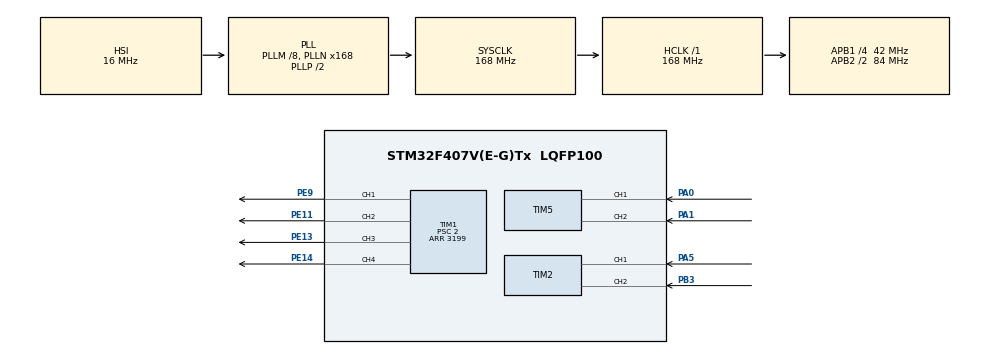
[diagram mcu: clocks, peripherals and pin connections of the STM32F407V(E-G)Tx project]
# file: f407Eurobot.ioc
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Mcu.Family=STM32F4
Mcu.Name=STM32F407V(E-G)Tx
Mcu.Package=LQFP100
NVIC.PriorityGroup=NVIC_PRIORITYGROUP_0
NVIC.TIM2_IRQn=true\:0\:0\:false\:false\:true\:true\:true\:true
NVIC.TIM6_DAC_IRQn=true\:0\:0\:false\:false\:true\:true\:true\:true
PA0-WKUP.Signal=S_TIM5_CH1
PA1.Signal=S_TIM5_CH2
PA5.Signal=S_TIM2_CH1_ETR
PB3.Signal=S_TIM2_CH2
PE11.Signal=S_TIM1_CH2
PE13.Signal=S_TIM1_CH3
PE14.Signal=S_TIM1_CH4
PE9.Signal=S_TIM1_CH1
PH0-OSC_IN.Mode=HSE-External-Oscillator
PH0-OSC_IN.Signal=RCC_OSC_IN
PH1-OSC_OUT.Mode=HSE-External-Oscillator
PH1-OSC_OUT.Signal=RCC_OSC_OUT
ProjectManager.HeapSize=0x200
ProjectManager.StackSize=0x400
ProjectManager.TargetToolchain=STM32CubeIDE
RCC.48MHZClocksFreq_Value=48000000
RCC.AHBFreq_Value=168000000
RCC.APB1CLKDivider=RCC_HCLK_DIV4
RCC.APB1Freq_Value=42000000
RCC.APB1TimFreq_Value=84000000
RCC.APB2CLKDivider=RCC_HCLK_DIV2
RCC.APB2Freq_Value=84000000
RCC.APB2TimFreq_Value=168000000
RCC.CortexFreq_Value=168000000
RCC.HCLKFreq_Value=168000000
RCC.HSE_VALUE=8000000
RCC.HSI_VALUE=16000000
RCC.LSE_VALUE=32768
RCC.PLLM=8
RCC.PLLN=168
RCC.PLLQ=7
RCC.SYSCLKFreq_VALUE=168000000
RCC.SYSCLKSource=RCC_SYSCLKSOURCE_PLLCLK
RCC.VCOOutputFreq_Value=336000000
SH.S_TIM1_CH1.0=TIM1_CH1,PWM Generation1 CH1
SH.S_TIM1_CH2.0=TIM1_CH2,PWM Generation2 CH2
SH.S_TIM1_CH3.0=TIM1_CH3,PWM Generation3 CH3
SH.S_TIM1_CH4.0=TIM1_CH4,PWM Generation4 CH4
SH.S_TIM2_CH1_ETR.0=TIM2_CH1,Encoder_Interface
SH.S_TIM2_CH2.0=TIM2_CH2,Encoder_Interface
SH.S_TIM5_CH1.0=TIM5_CH1,Encoder_Interface
SH.S_TIM5_CH2.0=TIM5_CH2,Encoder_Interface
TIM1.Channel-PWM\ Generation1\ CH1=TIM_CHANNEL_1
TIM1.Channel-PWM\ Generation2\ CH2=TIM_CHANNEL_2
TIM1.Channel-PWM\ Generation3\ CH3=TIM_CHANNEL_3
TIM1.Channel-PWM\ Generation4\ CH4=TIM_CHANNEL_4
TIM1.Period=3199
TIM1.Prescaler=2
TIM6.Period=419
TIM6.Prescaler=999
VP_TIM1_VS_ClockSourceINT.Mode=Internal
VP_TIM6_VS_ClockSourceINT.Mode=Enable_Timer
board=STM32F407G-DISC1

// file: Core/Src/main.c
/* USER CODE BEGIN Header */
/**
  ******************************************************************************
  * @file           : main.c
  * @brief          : Main program body
  ******************************************************************************
  * @attention
  *
  * Copyright (c) 2023 STMicroelectronics.
  * All rights reserved.
  *
  * This software is licensed under terms that can be found in the LICENSE file
  * in the root directory of this software component.
  * If no LICENSE file comes with this software, it is provided AS-IS.
  *
  ******************************************************************************
  */
/* USER CODE END Header */
#include "main.h"

/* USER CODE BEGIN Includes */
#include "math.h"
#include "Navigation.h"
#include "NavConfig.h"
#include "NavTypes.h"
#include "NavConstants.h"

/* USER CODE END Includes */

TIM_HandleTypeDef htim1;
TIM_HandleTypeDef htim2;
TIM_HandleTypeDef htim5;
TIM_HandleTypeDef htim6;

/* USER CODE BEGIN PV */

uint8_t SuddenStopConfirmation_DelayCounter = 0 ;
uint8_t Second_Delay_counter = 0 ;
extern int32_t Nav_OverflowLeftEncoder_i32 ;
extern int32_t Nav_PrevLeftEncoderCNT_i32 ;
uint8_t Nav_FirstTimeRecievingTargets = 1 ;
int Sensor=0;
double x, y, result;
extern double Nav_CurrentX_mm_d;
extern double Nav_CurrentY_mm_d;
extern double Nav_CurrentAngle_deg_d;
extern double Nav_CurrentAngle_rad_d;
extern double Nav_CurrentTargetAngle_deg_d ;
extern double Nav_PrevTargetAngle_deg_d ;
extern uint8_t Nav_NumberOfTargets_u8;
extern uint32_t Nav_RightTicks_i32;
extern double Nav_MeasuredDistanceRight_mm_d;
extern uint8_t Nav_NavigatorMustAlert ;
/* USER CODE END PV */

void SystemClock_Config(void);
static void MX_GPIO_Init(void);
static void MX_TIM2_Init(void);
static void MX_TIM6_Init(void);
static void MX_TIM1_Init(void);
static void MX_TIM5_Init(void);

/* USER CODE BEGIN 0 */

void HAL_TIM_PeriodElapsedCallback(TIM_HandleTypeDef *htim)

{
    if ( htim == &htim6 )
	{
        Nav_vTestPathStateMachine();
//		Nav_vExecutePath();

	}
}

/* USER CODE END 0 */

int main(void)
{

  /* MCU Configuration--------------------------------------------------------*/

  /* Reset of all peripherals, Initializes the Flash interface and the Systick. */

	HAL_Init();

  /* USER CODE BEGIN Init */
  Nav_vNavigatorInit();
  /* USER CODE END Init */

  /* Configure the system clock */
  SystemClock_Config();

  /* Initialize all configured peripherals */
  MX_GPIO_Init();
  MX_TIM2_Init();
  MX_TIM6_Init();
  MX_TIM1_Init();
  MX_TIM5_Init();
  /* USER CODE BEGIN 2 */
  HAL_TIM_Encoder_Start(&htim2,TIM_CHANNEL_1);
    HAL_TIM_Encoder_Start(&htim2,TIM_CHANNEL_2);

    HAL_TIM_Encoder_Start(&htim5,TIM_CHANNEL_1);
    HAL_TIM_Encoder_Start(&htim5,TIM_CHANNEL_2);

      HAL_TIM_PWM_Start(&htim1,TIM_CHANNEL_1);
    	HAL_TIM_PWM_Start(&htim1,TIM_CHANNEL_2);
    	HAL_TIM_PWM_Start(&htim1,TIM_CHANNEL_3);
    	HAL_TIM_PWM_Start(&htim1,TIM_CHANNEL_4);
    	TIM2->CNT=TIM2->ARR / 2 ;
    	TIM5->CNT=TIM5->ARR / 2 ;
   		HAL_Delay(2000);
   		    HAL_TIM_Base_Start_IT(&htim6);

//MOTOR_PWM->RIGHT_FORWARD = 0;
//MOTOR_PWM->RIGHT_REVERSE =MINIMUM_RIGHT_MOTOR_REVERSE_COMMAND;
//MOTOR_PWM->LEFT_FORWARD=0;
//MOTOR_PWM->LEFT_REVERSE =MINIMUM_LEFT_MOTOR_REVERSE_COMMAND ;

// MINIMUM_RIGHT_MOTOR_FORWARD_COMMAND
//
// MINIMUM_RIGHT_MOTOR_REVERSE_COMMAND
//
// MINIMUM_LEFT_MOTOR_FORWARD_COMMAND
//
// MINIMUM_LEFT_MOTOR_REVERSE_COMMAND
  /* USER CODE END 2 */

  /* Infinite loop */
   		    while (1)
  {

  }
}

void SystemClock_Config(void)
{
  RCC_OscInitTypeDef RCC_OscInitStruct = {0};
  RCC_ClkInitTypeDef RCC_ClkInitStruct = {0};

  /** Configure the main internal regulator output voltage
  */
  __HAL_RCC_PWR_CLK_ENABLE();
  __HAL_PWR_VOLTAGESCALING_CONFIG(PWR_REGULATOR_VOLTAGE_SCALE1);

  /** Initializes the RCC Oscillators according to the specified parameters
  * in the RCC_OscInitTypeDef structure.
  */
  RCC_OscInitStruct.OscillatorType = RCC_OSCILLATORTYPE_HSI;
  RCC_OscInitStruct.HSIState = RCC_HSI_ON;
  RCC_OscInitStruct.HSICalibrationValue = RCC_HSICALIBRATION_DEFAULT;
  RCC_OscInitStruct.PLL.PLLState = RCC_PLL_ON;
  RCC_OscInitStruct.PLL.PLLSource = RCC_PLLSOURCE_HSI;
  RCC_OscInitStruct.PLL.PLLM = 8;
  RCC_OscInitStruct.PLL.PLLN = 168;
  RCC_OscInitStruct.PLL.PLLP = RCC_PLLP_DIV2;
  RCC_OscInitStruct.PLL.PLLQ = 7;
  if (HAL_RCC_OscConfig(&RCC_OscInitStruct) != HAL_OK)
  {
    Error_Handler();
  }

  /** Initializes the CPU, AHB and APB buses clocks
  */
  RCC_ClkInitStruct.ClockType = RCC_CLOCKTYPE_HCLK|RCC_CLOCKTYPE_SYSCLK
                              |RCC_CLOCKTYPE_PCLK1|RCC_CLOCKTYPE_PCLK2;
  RCC_ClkInitStruct.SYSCLKSource = RCC_SYSCLKSOURCE_PLLCLK;
  RCC_ClkInitStruct.AHBCLKDivider = RCC_SYSCLK_DIV1;
  RCC_ClkInitStruct.APB1CLKDivider = RCC_HCLK_DIV4;
  RCC_ClkInitStruct.APB2CLKDivider = RCC_HCLK_DIV2;

  if (HAL_RCC_ClockConfig(&RCC_ClkInitStruct, FLASH_LATENCY_5) != HAL_OK)
  {
    Error_Handler();
  }
}

static void MX_TIM1_Init(void)
{

  TIM_ClockConfigTypeDef sClockSourceConfig = {0};
  TIM_MasterConfigTypeDef sMasterConfig = {0};
  TIM_OC_InitTypeDef sConfigOC = {0};
  TIM_BreakDeadTimeConfigTypeDef sBreakDeadTimeConfig = {0};

  htim1.Instance = TIM1;
  htim1.Init.Prescaler = 2;
  htim1.Init.CounterMode = TIM_COUNTERMODE_UP;
  htim1.Init.Period = 3199;
  htim1.Init.ClockDivision = TIM_CLOCKDIVISION_DIV1;
  htim1.Init.RepetitionCounter = 0;
  htim1.Init.AutoReloadPreload = TIM_AUTORELOAD_PRELOAD_DISABLE;
  if (HAL_TIM_Base_Init(&htim1) != HAL_OK)
  {
    Error_Handler();
  }
  sClockSourceConfig.ClockSource = TIM_CLOCKSOURCE_INTERNAL;
  if (HAL_TIM_ConfigClockSource(&htim1, &sClockSourceConfig) != HAL_OK)
  {
    Error_Handler();
  }
  if (HAL_TIM_PWM_Init(&htim1) != HAL_OK)
  {
    Error_Handler();
  }
  sMasterConfig.MasterOutputTrigger = TIM_TRGO_RESET;
  sMasterConfig.MasterSlaveMode = TIM_MASTERSLAVEMODE_DISABLE;
  if (HAL_TIMEx_MasterConfigSynchronization(&htim1, &sMasterConfig) != HAL_OK)
  {
    Error_Handler();
  }
  sConfigOC.OCMode = TIM_OCMODE_PWM1;
  sConfigOC.Pulse = 0;
  sConfigOC.OCPolarity = TIM_OCPOLARITY_HIGH;
  sConfigOC.OCNPolarity = TIM_OCNPOLARITY_HIGH;
  sConfigOC.OCFastMode = TIM_OCFAST_DISABLE;
  sConfigOC.OCIdleState = TIM_OCIDLESTATE_RESET;
  sConfigOC.OCNIdleState = TIM_OCNIDLESTATE_RESET;
  if (HAL_TIM_PWM_ConfigChannel(&htim1, &sConfigOC, TIM_CHANNEL_1) != HAL_OK)
  {
    Error_Handler();
  }
  if (HAL_TIM_PWM_ConfigChannel(&htim1, &sConfigOC, TIM_CHANNEL_2) != HAL_OK)
  {
    Error_Handler();
  }
  if (HAL_TIM_PWM_ConfigChannel(&htim1, &sConfigOC, TIM_CHANNEL_3) != HAL_OK)
  {
    Error_Handler();
  }
  if (HAL_TIM_PWM_ConfigChannel(&htim1, &sConfigOC, TIM_CHANNEL_4) != HAL_OK)
  {
    Error_Handler();
  }
  sBreakDeadTimeConfig.OffStateRunMode = TIM_OSSR_DISABLE;
  sBreakDeadTimeConfig.OffStateIDLEMode = TIM_OSSI_DISABLE;
  sBreakDeadTimeConfig.LockLevel = TIM_LOCKLEVEL_OFF;
  sBreakDeadTimeConfig.DeadTime = 0;
  sBreakDeadTimeConfig.BreakState = TIM_BREAK_DISABLE;
  sBreakDeadTimeConfig.BreakPolarity = TIM_BREAKPOLARITY_HIGH;
  sBreakDeadTimeConfig.AutomaticOutput = TIM_AUTOMATICOUTPUT_DISABLE;
  if (HAL_TIMEx_ConfigBreakDeadTime(&htim1, &sBreakDeadTimeConfig) != HAL_OK)
  {
    Error_Handler();
  }
  HAL_TIM_MspPostInit(&htim1);

}

static void MX_TIM2_Init(void)
{

  TIM_Encoder_InitTypeDef sConfig = {0};
  TIM_MasterConfigTypeDef sMasterConfig = {0};

  htim2.Instance = TIM2;
  htim2.Init.Prescaler = 0;
  htim2.Init.CounterMode = TIM_COUNTERMODE_UP;
  htim2.Init.Period = 4294967295;
  htim2.Init.ClockDivision = TIM_CLOCKDIVISION_DIV1;
  htim2.Init.AutoReloadPreload = TIM_AUTORELOAD_PRELOAD_DISABLE;
  sConfig.EncoderMode = TIM_ENCODERMODE_TI1;
  sConfig.IC1Polarity = TIM_ICPOLARITY_RISING;
  sConfig.IC1Selection = TIM_ICSELECTION_DIRECTTI;
  sConfig.IC1Prescaler = TIM_ICPSC_DIV1;
  sConfig.IC1Filter = 0;
  sConfig.IC2Polarity = TIM_ICPOLARITY_RISING;
  sConfig.IC2Selection = TIM_ICSELECTION_DIRECTTI;
  sConfig.IC2Prescaler = TIM_ICPSC_DIV1;
  sConfig.IC2Filter = 0;
  if (HAL_TIM_Encoder_Init(&htim2, &sConfig) != HAL_OK)
  {
    Error_Handler();
  }
  sMasterConfig.MasterOutputTrigger = TIM_TRGO_RESET;
  sMasterConfig.MasterSlaveMode = TIM_MASTERSLAVEMODE_DISABLE;
  if (HAL_TIMEx_MasterConfigSynchronization(&htim2, &sMasterConfig) != HAL_OK)
  {
    Error_Handler();
  }

}

static void MX_TIM5_Init(void)
{

  TIM_Encoder_InitTypeDef sConfig = {0};
  TIM_MasterConfigTypeDef sMasterConfig = {0};

  htim5.Instance = TIM5;
  htim5.Init.Prescaler = 0;
  htim5.Init.CounterMode = TIM_COUNTERMODE_UP;
  htim5.Init.Period = 4294967295;
  htim5.Init.ClockDivision = TIM_CLOCKDIVISION_DIV1;
  htim5.Init.AutoReloadPreload = TIM_AUTORELOAD_PRELOAD_DISABLE;
  sConfig.EncoderMode = TIM_ENCODERMODE_TI1;
  sConfig.IC1Polarity = TIM_ICPOLARITY_RISING;
  sConfig.IC1Selection = TIM_ICSELECTION_DIRECTTI;
  sConfig.IC1Prescaler = TIM_ICPSC_DIV1;
  sConfig.IC1Filter = 0;
  sConfig.IC2Polarity = TIM_ICPOLARITY_RISING;
  sConfig.IC2Selection = TIM_ICSELECTION_DIRECTTI;
  sConfig.IC2Prescaler = TIM_ICPSC_DIV1;
  sConfig.IC2Filter = 0;
  if (HAL_TIM_Encoder_Init(&htim5, &sConfig) != HAL_OK)
  {
    Error_Handler();
  }
  sMasterConfig.MasterOutputTrigger = TIM_TRGO_RESET;
  sMasterConfig.MasterSlaveMode = TIM_MASTERSLAVEMODE_DISABLE;
  if (HAL_TIMEx_MasterConfigSynchronization(&htim5, &sMasterConfig) != HAL_OK)
  {
    Error_Handler();
  }

}

static void MX_TIM6_Init(void)
{

  TIM_MasterConfigTypeDef sMasterConfig = {0};

  htim6.Instance = TIM6;
  htim6.Init.Prescaler = 999;
  htim6.Init.CounterMode = TIM_COUNTERMODE_UP;
  htim6.Init.Period = 419;
  htim6.Init.AutoReloadPreload = TIM_AUTORELOAD_PRELOAD_DISABLE;
  if (HAL_TIM_Base_Init(&htim6) != HAL_OK)
  {
    Error_Handler();
  }
  sMasterConfig.MasterOutputTrigger = TIM_TRGO_RESET;
  sMasterConfig.MasterSlaveMode = TIM_MASTERSLAVEMODE_DISABLE;
  if (HAL_TIMEx_MasterConfigSynchronization(&htim6, &sMasterConfig) != HAL_OK)
  {
    Error_Handler();
  }

}

static void MX_GPIO_Init(void)
{

  /* GPIO Ports Clock Enable */
  __HAL_RCC_GPIOH_CLK_ENABLE();
  __HAL_RCC_GPIOA_CLK_ENABLE();
  __HAL_RCC_GPIOE_CLK_ENABLE();
  __HAL_RCC_GPIOB_CLK_ENABLE();

}

void Error_Handler(void)
{
  __disable_irq();
  while (1)
  {
  }
}
